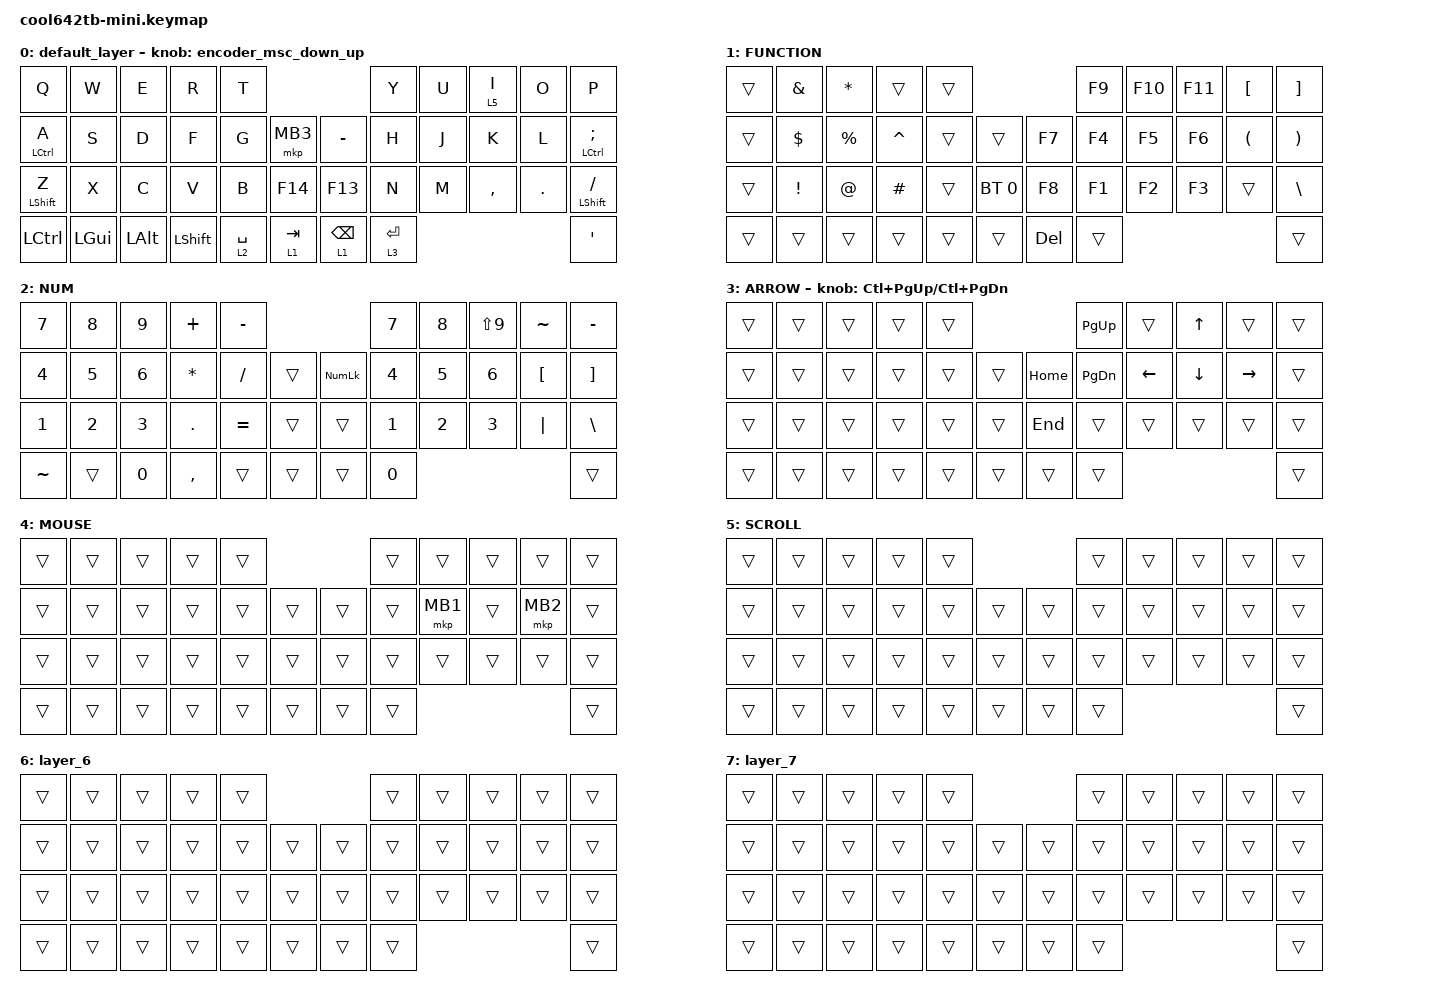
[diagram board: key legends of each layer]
#include <behaviors.dtsi>
#include <dt-bindings/zmk/bt.h>
#include <dt-bindings/zmk/keys.h>
#include <dt-bindings/zmk/pointing.h>

#define MOUSE 4
#define SCROLL 5
#define NUM 6
#define ZMK_POINTING_DEFAULT_SCRL_VAL 80

&mt {
    flavor = "balanced";
    quick-tap-ms = <0>;
};

/ {
    combos {
        compatible = "zmk,combos";

        shift_tab {
            bindings = <&kp LANG2>;
            key-positions = <12 13>;
        };

        lang {
            bindings = <&kp LANG1>;
            key-positions = <18 19>;
        };
    };

    behaviors {
        encoder_msc_down_up: encoder_msc_down_up {
            compatible = "zmk,behavior-sensor-rotate";
            label = "ENCODER_MSC_DOWN_UP";
            #sensor-binding-cells = <0>;
            bindings = <&msc SCRL_UP>, <&msc SCRL_DOWN>;

            tap-ms = <20>;
        };
    };

    keymap {
        compatible = "zmk,keymap";

        default_layer {
            bindings = <
&kp Q        &kp W         &kp E         &kp R      &kp T                                        &kp Y        &kp U  &lt 5 I    &kp O    &kp P
&mt LCTRL A  &kp S         &kp D         &kp F      &kp G        &mkp MB3       &kp MINUS        &kp H        &kp J  &kp K      &kp L    &mt LCTRL SEMI
&mt LSHFT Z  &kp X         &kp C         &kp V      &kp B        &kp F14        &kp F13          &kp N        &kp M  &kp COMMA  &kp DOT  &mt LSHFT SLASH
&kp LCTRL    &kp LEFT_GUI  &kp LEFT_ALT  &kp LSHFT  &lt 2 SPACE  &lt 1 TAB      &lt 1 BACKSPACE  &lt 3 ENTER                             &kp SQT
            >;

            sensor-bindings = <&encoder_msc_down_up>;
        };

        FUNCTION {
            bindings = <
&trans  &kp AMPERSAND    &kp ASTERISK  &trans     &trans                                &kp F9  &kp F10  &kp F11  &kp LEFT_BRACKET      &kp RBKT
&trans  &kp DOLLAR       &kp PERCENT   &kp CARET  &trans  &trans            &kp F7      &kp F4  &kp F5   &kp F6   &kp LEFT_PARENTHESIS  &kp RIGHT_PARENTHESIS
&trans  &kp EXCLAMATION  &kp AT_SIGN   &kp HASH   &trans  &bt BT_SEL 0      &kp F8      &kp F1  &kp F2   &kp F3   &trans                &kp BACKSLASH
&trans  &trans           &trans        &trans     &trans  &trans            &kp DELETE  &trans                                          &trans
            >;
        };

        NUM {
            bindings = <
&kp NUMBER_7  &kp NUMBER_8  &kp NUMBER_9  &kp PLUS      &kp MINUS                              &kp NUMBER_7  &kp NUMBER_8  &kp LS(NUMBER_9)  &kp TILDE         &kp MINUS
&kp NUMBER_4  &kp NUMBER_5  &kp NUMBER_6  &kp ASTERISK  &kp SLASH  &trans      &kp KP_NUMLOCK  &kp NUMBER_4  &kp NUMBER_5  &kp NUMBER_6      &kp LEFT_BRACKET  &kp RBKT
&kp NUMBER_1  &kp NUMBER_2  &kp NUMBER_3  &kp PERIOD    &kp EQUAL  &trans      &trans          &kp NUMBER_1  &kp NUMBER_2  &kp NUMBER_3      &kp PIPE          &kp BACKSLASH
&kp TILDE     &trans        &kp NUMBER_0  &kp COMMA     &trans     &trans      &trans          &kp NUMBER_0                                                    &trans
            >;
        };

        ARROW {
            bindings = <
&trans  &trans  &trans  &trans  &trans                        &kp PAGE_UP    &trans          &kp UP_ARROW    &trans           &trans
&trans  &trans  &trans  &trans  &trans  &trans      &kp HOME  &kp PAGE_DOWN  &kp LEFT_ARROW  &kp DOWN_ARROW  &kp RIGHT_ARROW  &trans
&trans  &trans  &trans  &trans  &trans  &trans      &kp END   &trans         &trans          &trans          &trans           &trans
&trans  &trans  &trans  &trans  &trans  &trans      &trans    &trans                                                          &trans
            >;

            sensor-bindings = <&inc_dec_kp LC(PAGE_UP) LC(PAGE_DOWN)>;
        };

        MOUSE {
            bindings = <
&trans  &trans  &trans  &trans  &trans                      &trans  &trans    &trans  &trans    &trans
&trans  &trans  &trans  &trans  &trans  &trans      &trans  &trans  &mkp MB1  &trans  &mkp MB2  &trans
&trans  &trans  &trans  &trans  &trans  &trans      &trans  &trans  &trans    &trans  &trans    &trans
&trans  &trans  &trans  &trans  &trans  &trans      &trans  &trans                              &trans
            >;
        };

        SCROLL {
            bindings = <
&trans  &trans  &trans  &trans  &trans                      &trans  &trans  &trans  &trans  &trans
&trans  &trans  &trans  &trans  &trans  &trans      &trans  &trans  &trans  &trans  &trans  &trans
&trans  &trans  &trans  &trans  &trans  &trans      &trans  &trans  &trans  &trans  &trans  &trans
&trans  &trans  &trans  &trans  &trans  &trans      &trans  &trans                          &trans
            >;
        };

        layer_6 {
            bindings = <
&trans  &trans  &trans  &trans  &trans                      &trans  &trans  &trans  &trans  &trans
&trans  &trans  &trans  &trans  &trans  &trans      &trans  &trans  &trans  &trans  &trans  &trans
&trans  &trans  &trans  &trans  &trans  &trans      &trans  &trans  &trans  &trans  &trans  &trans
&trans  &trans  &trans  &trans  &trans  &trans      &trans  &trans                          &trans
            >;
        };

        layer_7 {
            bindings = <
&trans  &trans  &trans  &trans  &trans                      &trans  &trans  &trans  &trans  &trans
&trans  &trans  &trans  &trans  &trans  &trans      &trans  &trans  &trans  &trans  &trans  &trans
&trans  &trans  &trans  &trans  &trans  &trans      &trans  &trans  &trans  &trans  &trans  &trans
&trans  &trans  &trans  &trans  &trans  &trans      &trans  &trans                          &trans
            >;
        };
    };
};
